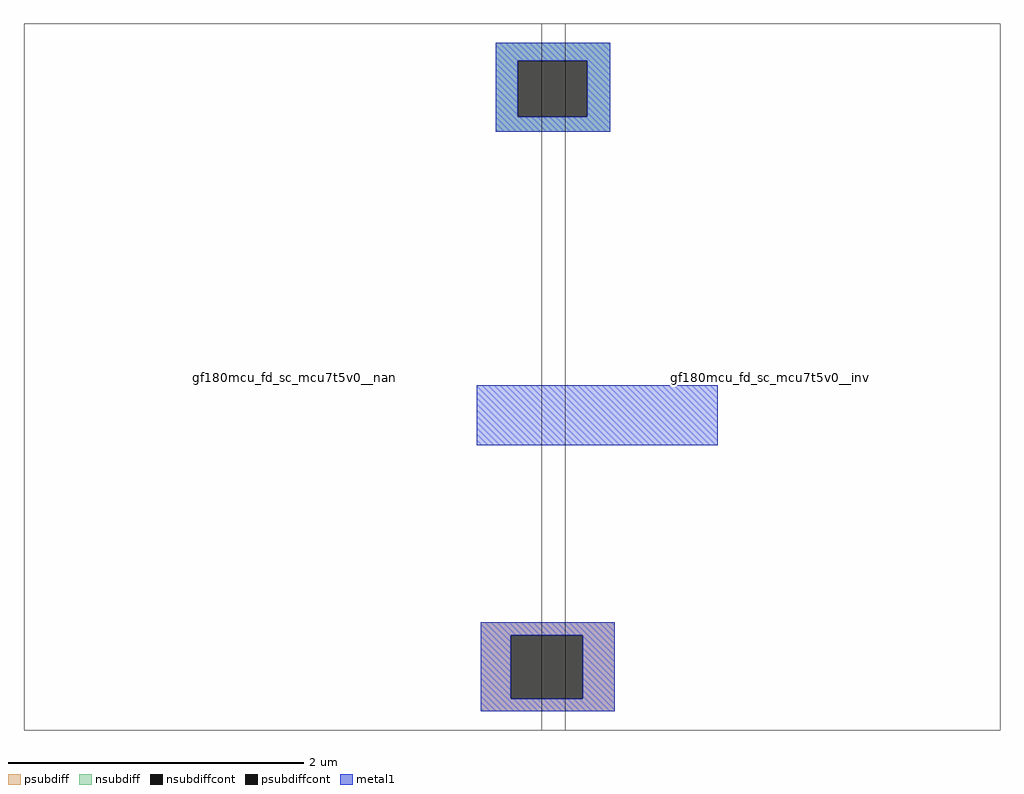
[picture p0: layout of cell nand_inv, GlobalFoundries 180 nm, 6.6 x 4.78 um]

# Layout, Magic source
magic
tech gf180mcuD
magscale 1 10
<< psubdiff >>
rect 528 39 709 56
rect 528 -47 568 39
rect 666 -47 709 39
rect 528 -64 709 -47
<< nsubdiff >>
rect 548 816 703 840
rect 548 740 578 816
rect 672 740 703 816
rect 548 720 703 740
<< psubdiffcont >>
rect 568 -47 666 39
<< nsubdiffcont >>
rect 578 740 672 816
<< metal1 >>
rect 548 816 703 840
rect 548 740 578 816
rect 672 740 703 816
rect 548 720 703 740
rect 522 296 848 377
rect 528 39 709 56
rect 528 -47 568 39
rect 666 -47 709 39
rect 528 -64 709 -47
use gf180mcu_fd_sc_mcu7t5v0__inv_1  gf180mcu_fd_sc_mcu7t5v0__inv_1_0 ~/conda-gf180mcu-env/envs/gf180mcu-env/share/pdk/gf180mcuD/libs.ref/gf180mcu_fd_sc_mcu7t5v0/mag
transform 1 0 696 0 1 -4
box -86 -86 534 870
use gf180mcu_fd_sc_mcu7t5v0__nand2_1  gf180mcu_fd_sc_mcu7t5v0__nand2_1_0 ~/conda-gf180mcu-env/envs/gf180mcu-env/share/pdk/gf180mcuD/libs.ref/gf180mcu_fd_sc_mcu7t5v0/mag
transform 1 0 -4 0 1 -4
box -86 -86 646 870
<< end >>
